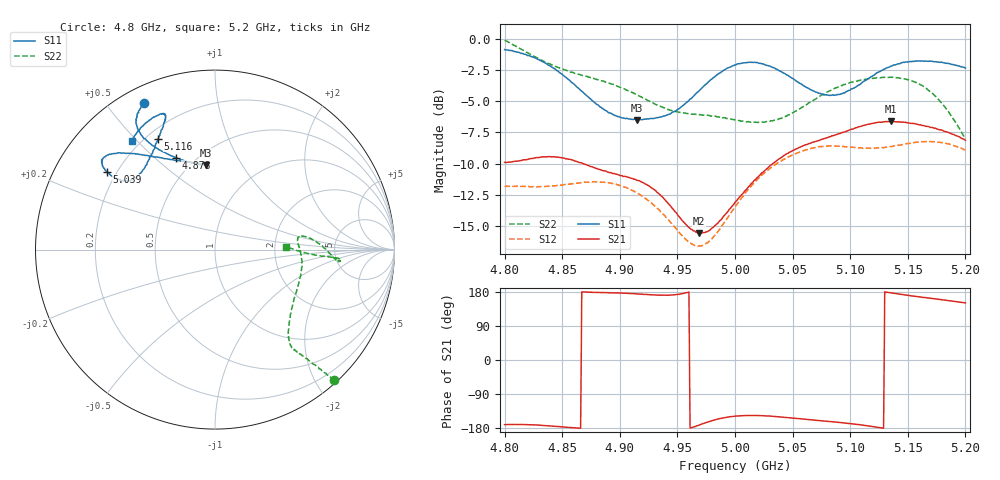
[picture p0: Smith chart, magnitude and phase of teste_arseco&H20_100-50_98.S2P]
! Network Analyzer HP8722D
! Hewlett-Packard
! Data name: Linha & Wilkinson
! Saver's name: Rodrigo Anjos
! Comments: Teste da utilização de aquisição
! continua pelo VNA HP8722D
! Time and date: 6/5/2025 13:23
!  Frequency  S11  S21  S12  S22
# HZ  S  MA R 50
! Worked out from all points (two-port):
!   401 points, 4.8 GHz to 5.2 GHz, reference 50 ohm
!   highest |S21| = -6.60 dB at 5.135 GHz (marker M1); lowest = -15.6 dB at 4.969 GHz (marker M2)
!   |S21| within 3 dB of the highest: 4.822 GHz to 4.853 GHz (30.37 MHz wide, 0.628 % of centre); 5.039 GHz to end of sweep (the widest 2 of 3)
!   lowest |S11| = -6.5 dB at 4.915 GHz (marker M3), VSWR 2.80, Z = 29.2 + j35.5 ohm
!   |S11| at or under -10 dB: nowhere
!   |S22| runs from -8.0 to -0.1 dB; largest |S21 - S12| = 0.83
!   S11 on the Smith chart (normalised r, x): 4.8 GHz: 0.07, +0.62; 4.878 GHz: 0.40, +0.59; 5.039 GHz: 0.16, +0.31; 5.116 GHz: 0.24, +0.58; 5.2 GHz: 0.17, +0.48
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4.8e9  0.9042 115.8  0.3204 -170.6  0.257 -86.2  0.9837 -47.5
4.834e9  0.8058 122.5  0.3368 -172.7  0.2563 -76.9  0.8119 -49.7
4.867e9  0.6157 117.9  0.3186 179.7  0.2655 -67.4  0.715 -51.5
4.878e9  0.5563 112.9  0.3051 178.4  0.268 -66.0  0.6921 -51.9
4.898e9  0.4886 102.2  0.2865 177.0  0.26 -66.5  0.6458 -50.4
4.915e9  0.4737 96.2  0.2714 174.3  0.2418 -68.3  0.5962 -46.4
4.934e9  0.4846 99.2  0.2398 171.2  0.2073 -69.5  0.5388 -37.6
4.948e9  0.5136 107.9  0.2034 172.1  0.1759 -66.6  0.5117 -28.3
4.969e9  0.6196 123.4  0.1669 -171.6  0.1483 -47.9  0.4973 -15.1
4.981e9  0.6972 129.9  0.1761 -159.3  0.1609 -33.9  0.4891 -8.8
5e9  0.7853 137.2  0.2214 -148.4  0.2132 -21.4  0.4733 -0.3
5.018e9  0.8024 141.7  0.2739 -146.5  0.2694 -18.3  0.4637 5.7
5.039e9  0.7419 144.3  0.3317 -150.0  0.3221 -18.4  0.4794 8.9
5.067e9  0.6217 142.0  0.3849 -158.0  0.3654 -20.6  0.562 4.6
5.088e9  0.5949 133.1  0.4139 -164.0  0.3716 -23.7  0.6366 -1.9
5.116e9  0.6944 117.1  0.4552 -174.2  0.3648 -26.9  0.6908 -5.4
5.134e9  0.7701 111.1  0.4653 177.8  0.3695 -28.8  0.7001 -4.9
5.135e9  0.7752 111.2  0.4679 177.4  0.3707 -28.8  0.7012 -4.7
5.148e9  0.8072 110.4  0.4637 171.5  0.3792 -31.3  0.6891 -4.1
5.164e9  0.8125 113.3  0.4492 165.2  0.3879 -36.0  0.6422 -3.7
5.181e9  0.8012 119.3  0.4276 158.5  0.3828 -41.4  0.5418 -2.8
5.2e9  0.7628 127.4  0.3924 150.7  0.359 -46.3  0.3969 2.5
